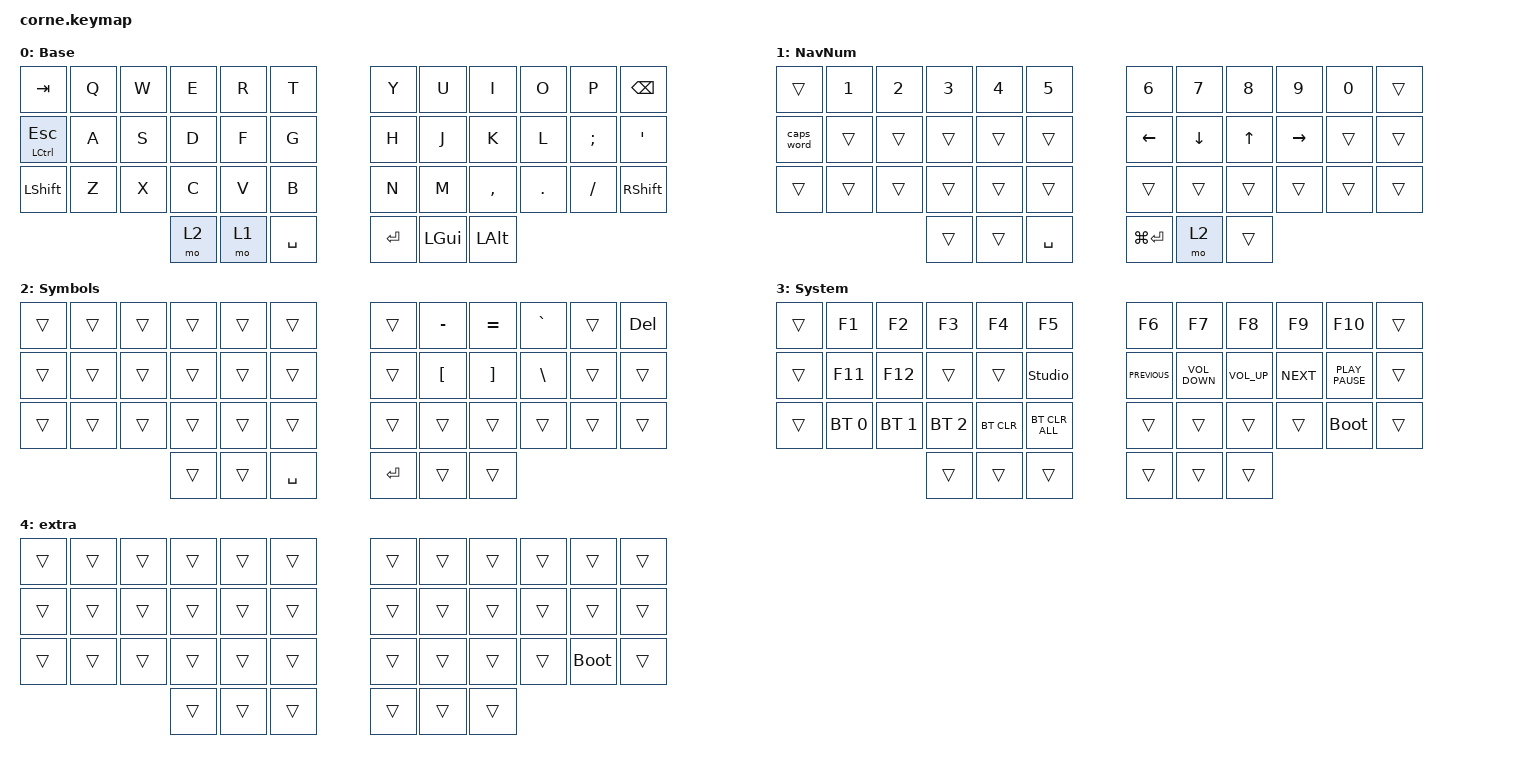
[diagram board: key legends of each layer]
#include <behaviors.dtsi>
#include <dt-bindings/zmk/bt.h>
#include <dt-bindings/zmk/keys.h>

#define DEF 0
#define NAV 1
#define SYM 2
#define ADJ 3
#define EXTRA 4

/ {
    combos { compatible = "zmk,combos"; };

    //

    keymap {
        compatible = "zmk,keymap";

        DEF {
            display-name = "Base";

            // -----------------------------------------------------------------------------------------
            // |  Q  |  W  |  E  |  R  |  T  |   |  Y  |  U   |  I  |  O  |  P  |
            // |  A  |  S  |  D  |  F  |  G  |   |  H  |  J   |  K  |  L  |  ;  |
            // |  Z  |  X  |  C  |  V  |  B  |   |  N  |  M   |  ,  |  .  |  /  |
            // | GUI | CTRL | SHFT | LWR | SPC |   | ENT | RSE  | BKSP | ALT | ESC |

            bindings = <
&kp TAB           &kp Q  &kp W  &kp E  &kp R  &kp T        &kp Y    &kp U         &kp I         &kp O    &kp P     &kp BACKSPACE
&mt LCTRL ESCAPE  &kp A  &kp S  &kp D  &kp F  &kp G        &kp H    &kp J         &kp K         &kp L    &kp SEMI  &kp SQT
&kp LEFT_SHIFT    &kp Z  &kp X  &kp C  &kp V  &kp B        &kp N    &kp M         &kp COMMA     &kp DOT  &kp FSLH  &kp RSHFT
                                &mo 2  &mo 1  &kp SPACE    &kp RET  &kp LEFT_GUI  &kp LEFT_ALT
            >;
        };

        NAV {
            display-name = "NavNum";

            // -----------------------------------------------------------------------------------------
            // |  TAB |  1  |  2  |  3  |  4  |  5  |   |  6  |  7  |  8  |  9  |  0  | BKSP |
            // | BTCLR| BT1 | BT2 | BT3 | BT4 | BT5 |   | LFT | DWN |  UP | RGT |     |      |
            // | SHFT |     |     |     |     |     |   |     |     |     |     |     |      |
            // | GUI | CTRL | SHFT | LWR | SPC |   | ENT | RSE  | BKSP | ALT | ESC |

            bindings = <
&trans      &kp N1  &kp N2  &kp N3  &kp N4  &kp N5       &kp N6          &kp N7          &kp N8        &kp N9           &kp N0  &trans
&caps_word  &trans  &trans  &trans  &trans  &trans       &kp LEFT_ARROW  &kp DOWN_ARROW  &kp UP_ARROW  &kp RIGHT_ARROW  &trans  &trans
&trans      &trans  &trans  &trans  &trans  &trans       &trans          &trans          &trans        &trans           &trans  &trans
                            &trans  &trans  &kp SPACE    &kp LG(RET)     &mo 2           &trans
            >;
        };

        SYM {
            display-name = "Symbols";

            // -----------------------------------------------------------------------------------------
            // |  TAB |  !  |  @  |  #  |  $  |  %  |   |  ^  |  &  |  *  |  (  |  )  | BKSP |
            // | CTRL |     |     |     |     |     |   |  -  |  =  |  [  |  ]  |  \  |  `   |
            // | SHFT |     |     |     |     |     |   |  _  |  +  |  {  |  }  | "|" |  ~   |
            //                    | GUI |     | SPC |   | ENT |     | ALT |

            bindings = <
&trans  &trans  &trans  &trans  &trans  &trans       &trans   &kp MINUS         &kp EQUAL          &kp GRAVE      &trans  &kp DELETE
&trans  &trans  &trans  &trans  &trans  &trans       &trans   &kp LEFT_BRACKET  &kp RIGHT_BRACKET  &kp BACKSLASH  &trans  &trans
&trans  &trans  &trans  &trans  &trans  &trans       &trans   &trans            &trans             &trans         &trans  &trans
                        &trans  &trans  &kp SPACE    &kp RET  &trans            &trans
            >;
        };

        ADJ {
            display-name = "System";
            bindings = <
&trans  &kp F1        &kp F2        &kp F3        &kp F4      &kp F5            &kp F6          &kp F7             &kp F8           &kp F9      &kp F10           &trans
&trans  &kp F11       &kp F12       &trans        &trans      &studio_unlock    &kp C_PREVIOUS  &kp K_VOLUME_DOWN  &kp K_VOLUME_UP  &kp C_NEXT  &kp K_PLAY_PAUSE  &trans
&trans  &bt BT_SEL 0  &bt BT_SEL 1  &bt BT_SEL 2  &bt BT_CLR  &bt BT_CLR_ALL    &trans          &trans             &trans           &trans      &bootloader       &trans
                                    &trans        &trans      &trans            &trans          &trans             &trans
            >;
        };

        EXTRA {
            display-name = "extra";
            bindings = <
&trans  &trans  &trans  &trans  &trans  &trans    &trans  &trans  &trans  &trans  &trans       &trans
&trans  &trans  &trans  &trans  &trans  &trans    &trans  &trans  &trans  &trans  &trans       &trans
&trans  &trans  &trans  &trans  &trans  &trans    &trans  &trans  &trans  &trans  &bootloader  &trans
                        &trans  &trans  &trans    &trans  &trans  &trans
            >;
        };
    };

    conditional_layers {
        compatible = "zmk,conditional-layers";

        l3 {
            if-layers = <1 2>;
            then-layer = <3>;
        };
    };
};
